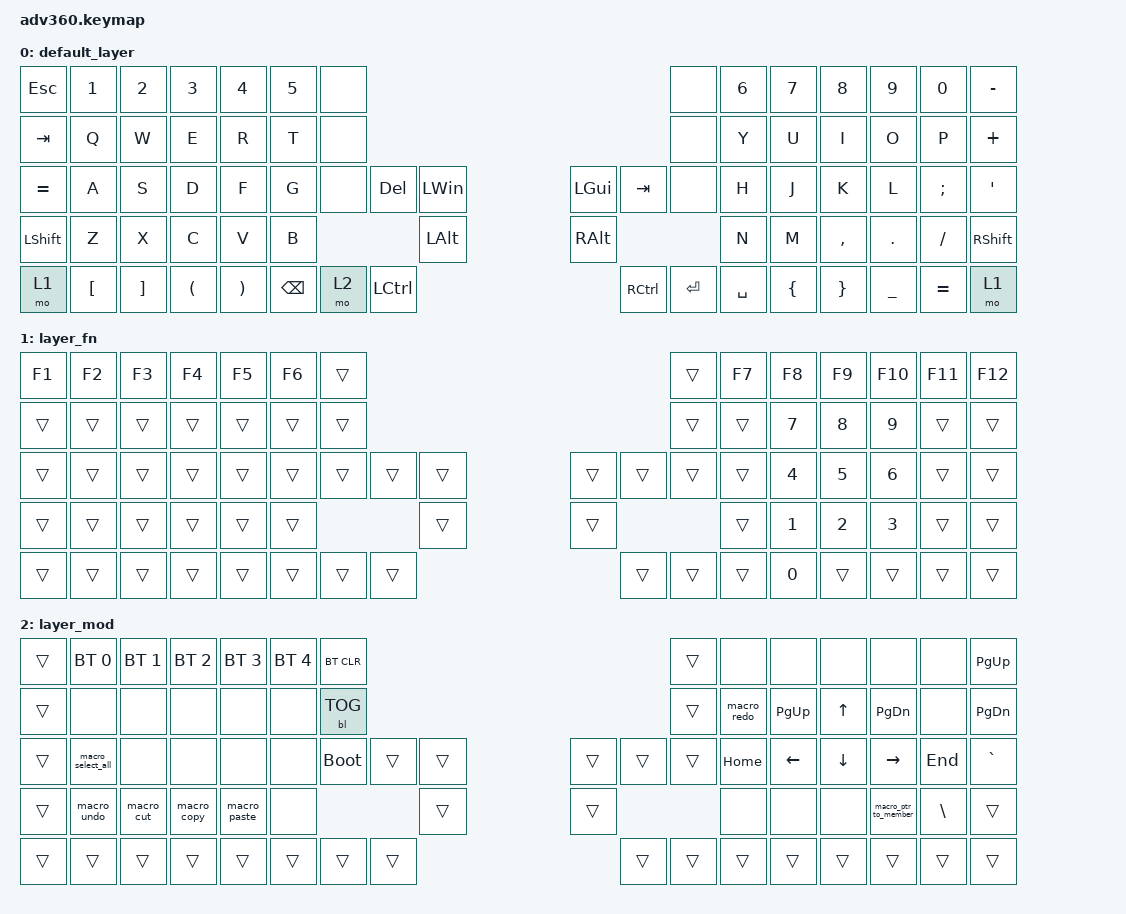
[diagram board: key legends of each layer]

/*
 * Copyright (c) 2020 The ZMK Contributors
 *
 * SPDX-License-Identifier: MIT
 */


/* THIS FILE WAS GENERATED!
 *
 * This file was generated automatically. You may or may not want to
 * edit it directly.
 */

#include <behaviors.dtsi>
#include <dt-bindings/zmk/keys.h>
#include <dt-bindings/zmk/bt.h>
#include <dt-bindings/zmk/backlight.h>

/ {
  behaviors {
    #include "macros.dtsi"
    #include "version.dtsi"

    hm: homerow_mods {
        compatible = "zmk,behavior-hold-tap";
        label = "HOMEROW_MODS";
        #binding-cells = <2>;
        tapping-term-ms = <200>;
        quick_tap_ms = <175>;
        flavor = "tap-preferred";
        bindings = <&kp>, <&kp>;
    };
  };

    keymap {
        compatible = "zmk,keymap";


        default_layer {
            bindings = <
   &kp ESC            &kp N1             &kp N2                &kp N3                 &kp N4  &kp N5               &none                                                                   &none  &kp N6          &kp N7           &kp N8     &kp N9     &kp N0  &kp MINUS
   &kp TAB             &kp Q              &kp W                 &kp E                  &kp R   &kp T               &none                                                                   &none   &kp Y           &kp U            &kp I      &kp O      &kp P   &kp PLUS
 &kp EQUAL             &kp A              &kp S                 &kp D                  &kp F   &kp G               &none  &kp DEL  &kp LEFT_WIN                   &kp LGUI    &kp TAB      &none   &kp H           &kp J            &kp K      &kp L   &kp SEMI    &kp SQT
 &kp LSHFT             &kp Z              &kp X                 &kp C                  &kp V   &kp B                                   &kp LALT                   &kp RALT                         &kp N           &kp M        &kp COMMA    &kp DOT  &kp SLASH  &kp RSHFT
     &mo 1  &kp LEFT_BRACKET  &kp RIGHT_BRACKET  &kp LEFT_PARENTHESIS  &kp RIGHT_PARENTHESIS                    &kp BSPC    &mo 2     &kp LCTRL                  &kp RCTRL  &kp ENTER  &kp SPACE          &kp LEFT_BRACE  &kp RIGHT_BRACE  &kp UNDER  &kp EQUAL      &mo 1
            >;
        };

        layer_fn {
            bindings = <
 &kp F1  &kp F2  &kp F3  &kp F4  &kp F5  &kp F6            &trans                                                  &trans  &kp F7        &kp F8        &kp F9       &kp F10  &kp F11  &kp F12
 &trans  &trans  &trans  &trans  &trans  &trans            &trans                                                  &trans  &trans  &kp NUMBER_7  &kp NUMBER_8  &kp NUMBER_9   &trans   &trans
 &trans  &trans  &trans  &trans  &trans  &trans            &trans  &trans  &trans                  &trans  &trans  &trans  &trans  &kp NUMBER_4  &kp NUMBER_5  &kp NUMBER_6   &trans   &trans
 &trans  &trans  &trans  &trans  &trans  &trans                            &trans                  &trans                  &trans  &kp NUMBER_1  &kp NUMBER_2  &kp NUMBER_3   &trans   &trans
 &trans  &trans  &trans  &trans  &trans                    &trans  &trans  &trans                  &trans  &trans  &trans          &kp NUMBER_0        &trans        &trans   &trans   &trans
            >;
        };

        layer_mod {
            bindings = <
 &trans       &bt BT_SEL 0  &bt BT_SEL 1  &bt BT_SEL 2  &bt BT_SEL 3  &bt BT_SEL 4             &bt BT_CLR                                                  &trans        &none           &none           &none                 &none          &none  &kp PG_UP
 &trans              &none         &none         &none         &none         &none             &bl BL_TOG                                                  &trans  &macro_redo       &kp PG_UP    &kp UP_ARROW             &kp PG_DN          &none  &kp PG_DN
 &trans  &macro_select_all         &none         &none         &none         &none            &bootloader  &trans  &trans                  &trans  &trans  &trans     &kp HOME  &kp LEFT_ARROW  &kp DOWN_ARROW       &kp RIGHT_ARROW        &kp END  &kp GRAVE
 &trans        &macro_undo    &macro_cut   &macro_copy  &macro_paste         &none                                 &trans                  &trans                        &none           &none           &none  &macro_ptr_to_member  &kp BACKSLASH     &trans
 &trans             &trans        &trans        &trans        &trans                               &trans  &trans  &trans                  &trans  &trans  &trans                       &trans          &trans                &trans         &trans     &trans
            >;
        };

    };
};
